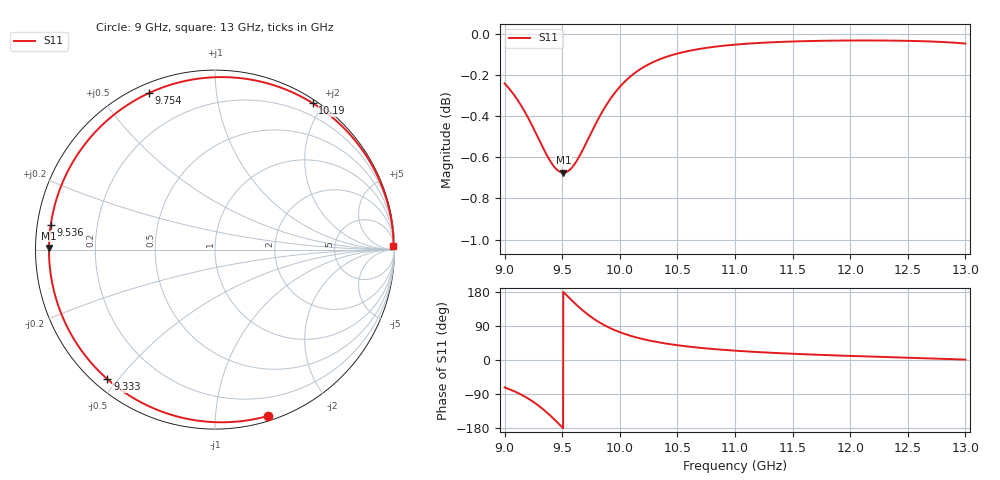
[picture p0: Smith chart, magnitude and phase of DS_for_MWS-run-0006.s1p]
! TOUCHSTONE file generated by CST DESIGN STUDIO
! Date and time: Tue Feb  4 12:46:53 2025
! Project name: C:\Work\MatlabApps\UnitCellOptimizationMatlab\CST\unitcell.cst
! Tree item: Tasks\Sweep1\SPara1\S-Parameters
! Header version: 2024
! Port assignment regex: !\s*Touchstone port\s*([0-9]+)\s*=\s*(CST MWS port|CST DES external port|CST DES block port)\s*(.+)\s* \(\"(.*)\"\)(\s*mode\s*([0-9]+))?.*
! Touchstone port assignment:
! Touchstone port 1 = CST DES external port 1 ("")
# GHz S MA R 50
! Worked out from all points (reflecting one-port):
!   4001 points, 9 GHz to 13 GHz, reference 50 ohm
!   lowest |S11| = -0.7 dB at 9.51 GHz (marker M1), VSWR 25.76, Z = 1.94 + j0.228 ohm
!   phase of S11 starts at -72 deg and turns -286 deg over the sweep
!   S11 on the Smith chart (normalised r, x): 9 GHz: 0.04, -1.37; 9.333 GHz: 0.04, -0.47; 9.536 GHz: 0.04, +0.07; 9.754 GHz: 0.04, +0.66; 10.19 GHz: 0.04, +1.87; 13 GHz: 25, +93
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9  0.9727 -72.4
9.09  0.9657 -83.4
9.194  0.9553 -99.8
9.267  0.9465 -114.3
9.333  0.9383 -129.7
9.378  0.9331 -141.6
9.425  0.9288 -154.9
9.463  0.9264 -166.2
9.5  0.9253 -177.5
9.51  0.9253 179.5
9.536  0.9256 171.5
9.589  0.9282 155.6
9.649  0.9338 138.6
9.701  0.9399 125.2
9.754  0.9464 113.0
9.804  0.9525 102.8
9.86  0.9586 92.8
10  0.9708 73.5
10.089  0.9763 64.3
10.186  0.9808 56.2
10.329  0.9854 47.1
10.5  0.9891 39.0
10.721  0.9919 31.4
11  0.994 24.6
11.5  0.9958 16.5
12  0.9963 10.8
12.5  0.9961 6.0
13  0.9946 1.2
